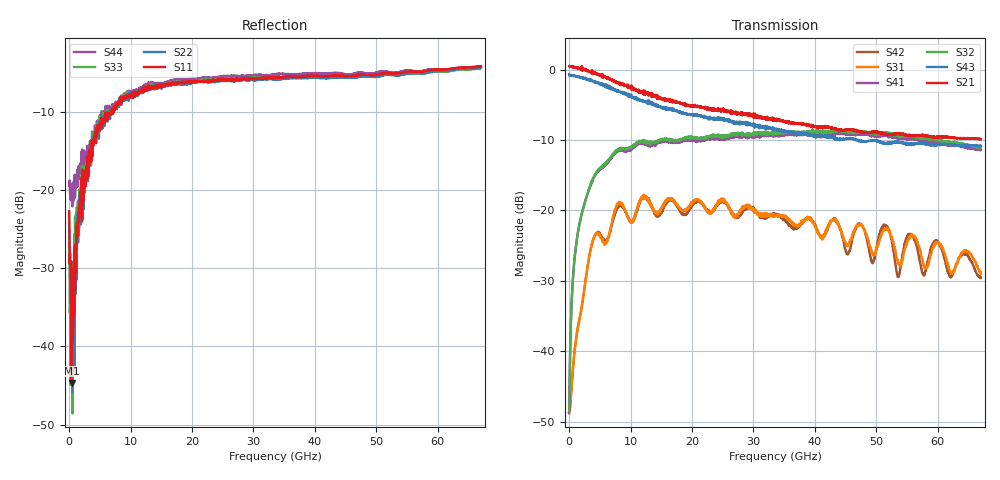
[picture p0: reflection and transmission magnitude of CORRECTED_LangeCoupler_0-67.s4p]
! Generated by Phase II Calibration
# Hz S RI R 50
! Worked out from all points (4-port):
!   1601 points, 10 MHz to 67 GHz, reference 50 ohm
!   strongest paths, dB at 10 MHz, 16.76 GHz, 33.51 GHz, 50.25 GHz, 67 GHz:
!     S21: 0.5, -4.4, -7.0, -8.8, -9.9
!     S43: -0.7, -5.8, -8.4, -10.3, -10.8
!     S32: -48.5, -10.0, -8.9, -9.0, -11.0
!     S41: -48.8, -10.3, -9.4, -9.5, -11.3
!     S31: -48.6, -18.3, -20.7, -25.0, -29.0
!     S42: -48.6, -18.5, -20.5, -24.2, -29.5
!   lowest |S11| = -44.6 dB at 428.7 MHz (marker M1), VSWR 1.01, Z = 49.6 + j0.448 ohm
!   |S11| at or under -10 dB: start of sweep to 6.857 GHz; 6.886 GHz to 6.97 GHz (84.17 MHz wide, 1.21 % of centre); 7.027 GHz to 7.069 GHz (42.02 MHz wide, 0.596 % of centre)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
1e7  -0.00406 0.0727  1.048 0.1058  -0.00373 7.02e-05  0.00362 0.000522
     1.049 0.1059  -0.0131 0.0717  0.00366 0.000435  -0.00368 0.000103
     -0.00371 0.000101  0.00374 0.000502  0.00951 0.0488  0.9266 -0.0163
     0.00361 0.000497  -0.0037 8.53e-05  0.9273 -0.0181  -0.0872 0.0598
4.286875e8  -0.00373 0.00452  1.052 0.0224  -0.00421 0.00397  0.00487 0.0221
            1.052 0.0221  0.00483 0.00949  0.00521 0.0223  -0.00411 0.00401
            -0.00422 0.00397  0.00519 0.0223  -0.00724 0.0101  0.9036 -0.0824
            0.00488 0.0221  -0.00413 0.00401  0.9037 -0.0795  -0.0952 -0.00279
2.061569e9  -0.0645 -0.0703  0.9729 -0.1447  -0.0037 0.0205  0.037 0.0869
            0.9732 -0.1472  -0.065 -0.0631  0.0358 0.0881  -0.00355 0.0205
            -0.00353 0.0204  0.0359 0.0879  -0.0191 -0.1076  0.8421 -0.2388
            0.0363 0.0866  -0.00338 0.0205  0.8452 -0.2462  -0.1317 -0.0654
4.155006e9  -0.0753 -0.1863  0.8601 -0.3379  0.0282 0.0594  0.106 0.1414
            0.8669 -0.3494  -0.0914 -0.1938  0.1042 0.1438  0.0289 0.0596
            0.0282 0.0592  0.1028 0.145  -0.0625 -0.2117  0.7303 -0.3864
            0.1033 0.1419  0.0287 0.0593  0.7201 -0.3932  -0.135 -0.1525
9.05365e9  -0.2586 -0.2881  0.5664 -0.5526  0.101 0.000183  0.2399 0.1152
           0.5594 -0.5442  -0.2331 -0.2873  0.2479 0.1182  0.1009 0.0023
           0.1026 0.00245  0.2501 0.1172  -0.2593 -0.3007  0.4287 -0.5324
           0.2411 0.1114  0.1007 0.00181  0.4235 -0.5252  -0.3003 -0.2629
3.446798e10  -0.4773 -0.2175  -0.2333 -0.3626  -0.0825 -0.0415  0.2618 -0.2231
             -0.2375 -0.3609  -0.4598 -0.2217  0.2748 -0.2267  -0.0831 -0.0343
             -0.0826 -0.0397  0.2706 -0.2236  -0.4761 -0.2017  -0.2307 -0.2814
             0.264 -0.2197  -0.0827 -0.0344  -0.2298 -0.2854  -0.5117 -0.1997
6.7e10  -0.5338 -0.3039  -0.2915 0.1338  0.0345 -0.0111  -0.0785 -0.257
        -0.2901 0.1368  -0.5074 -0.3258  -0.0839 -0.2701  0.0336 -0.00241
        0.034 -0.0107  -0.0854 -0.2698  -0.5277 -0.2868  -0.2513 0.1368
        -0.0812 -0.2587  0.0333 -0.00274  -0.2514 0.1402  -0.5441 -0.2863
